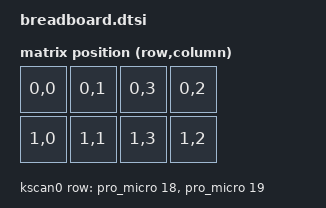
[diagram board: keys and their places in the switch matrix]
#include <dt-bindings/zmk/matrix_transform.h>

#define L_DEF  0 // default layer
#define L_NAV  1 // navigation layer

/ {
  chosen {
    zmk,kscan = &kscan0;
    zmk,matrix_transform = &default_transform;
    zephyr,console = &cdc_acm_uart;            // this is to allow USB debugging when the CONFIG_ZMK_USB_LOGGING=y is set in yackboard-v1_right.conf
  };

  default_transform: keymap_transform_0 {
    compatible = "zmk,matrix-transform";
    columns = <4>;
    rows = <2>;

  // The following matrix transform describes the wiring of the breadboard cirquit.
  map = <
    RC(0,0) RC(0,1)    RC(0,3) RC(0,2)
    RC(1,0) RC(1,1)    RC(1,3) RC(1,2)
    >;
  };

  kscan0: kscan_0 {
    compatible = "zmk,kscan-gpio-matrix";
    label = "KSCAN";
    diode-direction = "row2col";

    row-gpios // The following are the rows of the matrix of the Yackboard (with diodes pointing from rows to columns)
      = <&pro_micro 18 GPIO_ACTIVE_HIGH>
      , <&pro_micro 19 GPIO_ACTIVE_HIGH>
      ;
  };
};

// The following is the device used for USB debugging.

&usbd {
  status = "okay";
  cdc_acm_uart: cdc_acm_uart {
    compatible = "zephyr,cdc-acm-uart";
    label = "CDC_ACM_0";
  };
};
